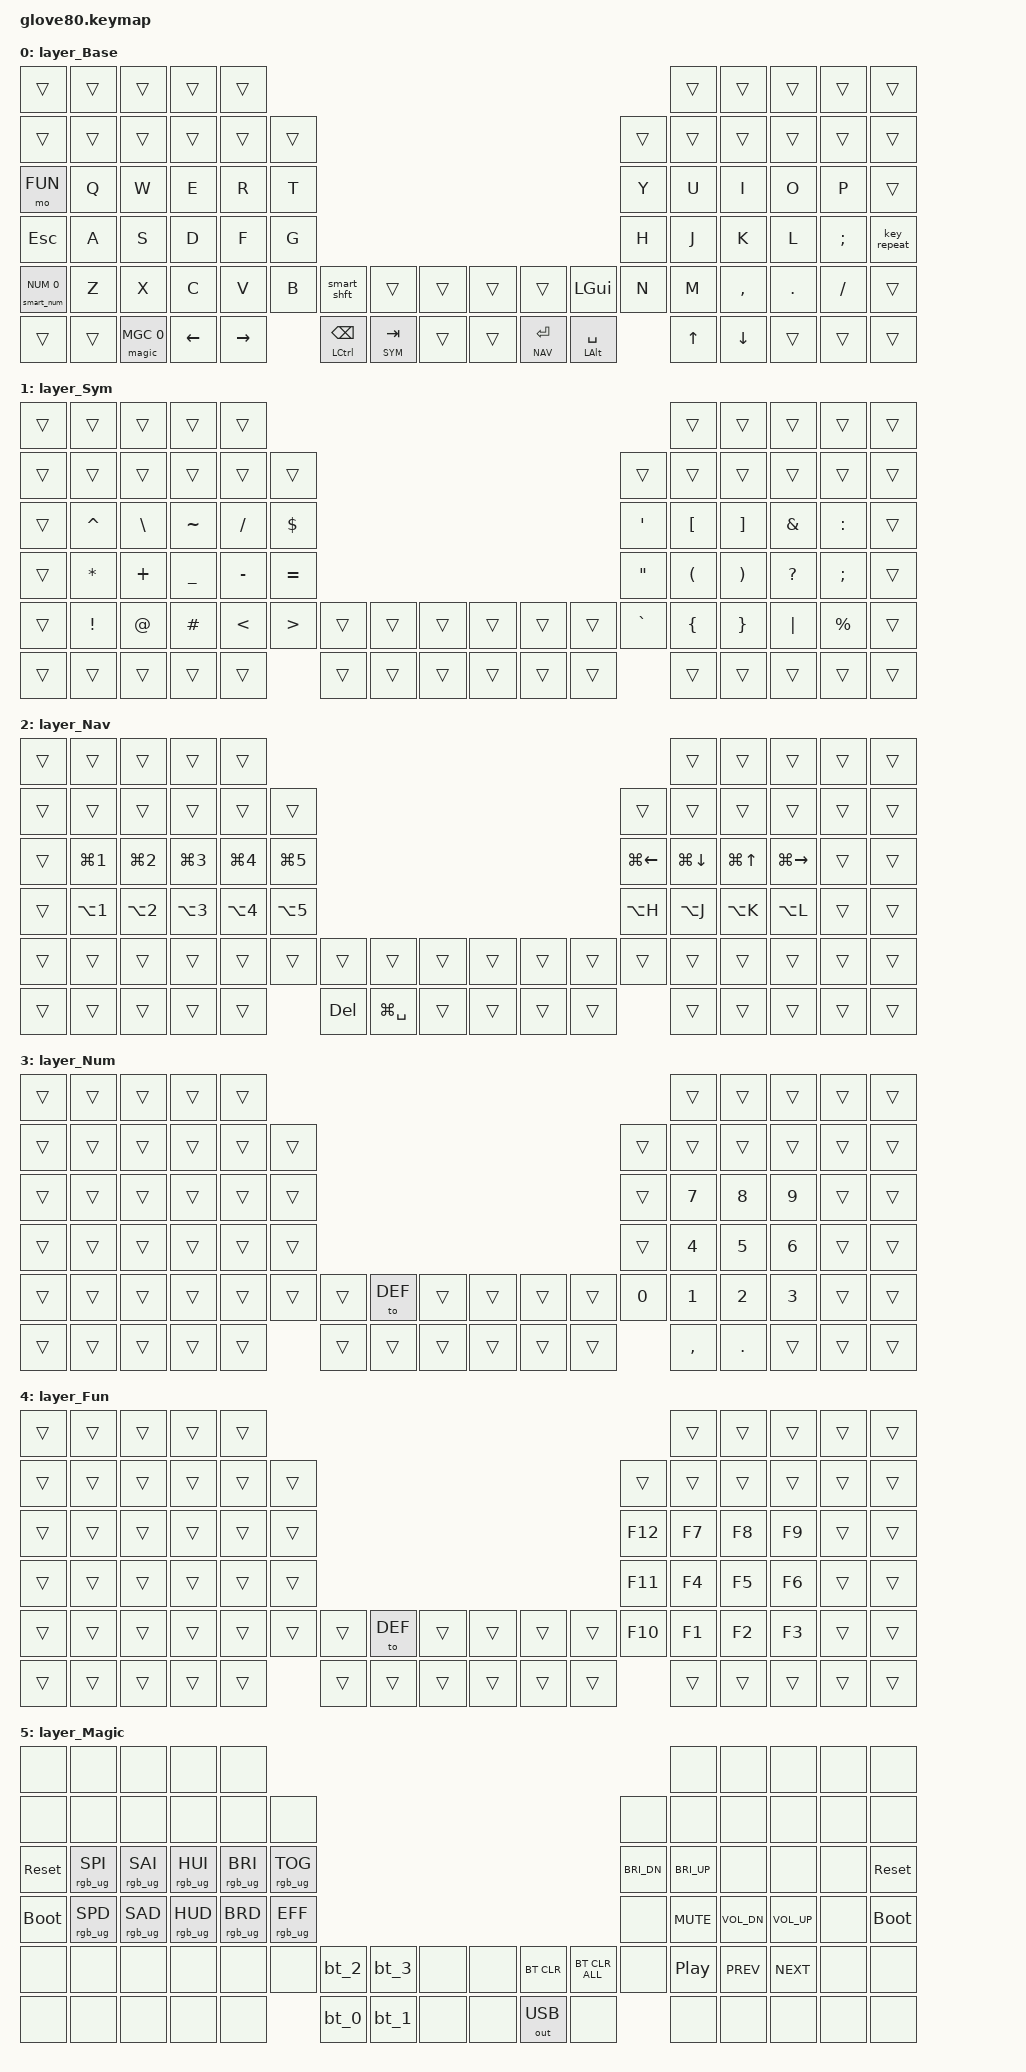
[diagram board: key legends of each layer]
#include <behaviors.dtsi>
#include <dt-bindings/zmk/outputs.h>
#include <dt-bindings/zmk/keys.h>
#include "glove80/bt.dtsi"
#include "glove80/magic.dtsi"
#include "zmk-helpers/helper.h"
#include "zmk-helpers/key-labels/glove80.h"
#include <behaviors/num_word.dtsi>  // from zmk-auto-layer module

#define DEF 0
#define SYM 1
#define NAV 2
#define NUM 3
#define FUN 4
#define MGC 5
#define _MAGIC &magic MGC 0

#define QUICK_TAP_MS 175

&sk {  // sticky-key config
    release-after-ms = <900>;  // release after 0.6s
    quick-release;             // no double capitalization when rolling keys
};

&sl {  // sticky-layer config
    ignore-modifiers;          // allow chording sticky mods & layers
};

&lt {  // layer-tap config
    flavor = "balanced";
    tapping-term-ms = <200>;
    quick-tap-ms = <QUICK_TAP_MS>;
};

&mt { // mod-tap config
    tapping-term-ms = <200>;
    flavor = "tap-preferred";
};

// tap: num-word | double-tap: sticky num-layer | hold: num-layer
#define _SMART_NUM &smart_num NUM 0
ZMK_HOLD_TAP(smart_num,
    flavor = "balanced";
    tapping-term-ms = <200>;
    quick-tap-ms = <QUICK_TAP_MS>;
    bindings = <&mo>, <&num_dance>;
)
ZMK_TAP_DANCE(num_dance,
    tapping-term-ms = <200>;
    bindings = <&num_word NUM>, <&sl NUM>;  // reverse this for sticky-num on single tap
)
&num_word {  // num-word, from zmk-auto-layer module
    continue-list = <BSPC DEL DOT COMMA PLUS MINUS STAR FSLH EQUAL>;
};
   
// tap: sticky-shift | shift + tap/ double-tap: caps-word | hold: shift
ZMK_MOD_MORPH(smart_shft,
    bindings = <&sk LSHFT>, <&caps_word>;
    mods = <(MOD_LSFT)>;
)

// Original top rows
// &kp F1 &kp F2 &kp F3 &kp F4 &kp F5 &kp F6 &kp F7 &kp F8 &kp F9 &kp F10
// &kp N1 &kp N2 &kp N3 &kp N4 &kp N5 &kp N6 &kp N7 &kp N8 &kp N9 &kp N10
// Original left-most row
// &kp EQUAL
// &kp TAB  
// &kp ESC  
// &kp GRAVE
// _MAGIC
// Original right-most row
// &kp MINUS
// &kp BSLH 
// &kp SQT  
// &kp PG_UP
// &kp PG_DN
/ {
    keymap {
        compatible = "zmk,keymap";

        layer_Base {
            bindings =  <
//    ┌────────────┬─────┬────────┬──────┬──────┐                                                                              ┌─────┬──────┬─────┬─────┬──────┐
//    │            │     │        │      │      │                                                                              │     │      │     │     │      │
//    ├────────────┼─────┼────────┼──────┼──────┼─────┐                                                                  ┌─────┼─────┼──────┼─────┼─────┼──────┤
//    │            │     │        │      │      │     │                                                                  │     │     │      │     │     │      │
//    ├────────────┼─────┼────────┼──────┼──────┼─────┤                                                                  ├─────┼─────┼──────┼─────┼─────┼──────┤
//    │   mo FUN   │  Q  │   W    │  E   │  R   │  T  │                                                                  │  Y  │  U  │  I   │  O  │  P  │      │
//    ├────────────┼─────┼────────┼──────┼──────┼─────┤                                                                  ├─────┼─────┼──────┼─────┼─────┼──────┤
//    │    esc     │  A  │   S    │  D   │  F   │  G  │                                                                  │  H  │  J  │  K   │  L  │  ;  │ keyr │
//    ├────────────┼─────┼────────┼──────┼──────┼─────┼──────────────┬────────────┬─────┬─────┬────────────┬─────────────┼─────┼─────┼──────┼─────┼─────┼──────┤
//    │ _SMART_NUM │  Z  │   X    │  C   │  V   │  B  │ &smart_shft  │            │     │     │            │    lgui     │  N  │  M  │  ,   │  .  │  /  │      │
//    ├────────────┼─────┼────────┼──────┼──────┼─────┼──────────────┼────────────┼─────┼─────┼────────────┼─────────────┼─────┼─────┼──────┼─────┼─────┼──────┤
//    │            │     │ _MAGIC │ left │ rght │     │ mt lctl bspc │ lt SYM tab │     │     │ lt NAV ent │ mt lalt spc │     │ up  │ down │     │     │      │
//    └────────────┴─────┴────────┴──────┴──────┘     └──────────────┴────────────┴─────┴─────┴────────────┴─────────────┘     └─────┴──────┴─────┴─────┴──────┘
  &trans       &trans   &trans   &trans     &trans                                                                                                        &trans   &trans      &trans    &trans     &trans     
  &trans       &trans   &trans   &trans     &trans      &trans                                                                                   &trans   &trans   &trans      &trans    &trans     &trans     
  &mo FUN      &kp Q    &kp W    &kp E      &kp R       &kp T                                                                                    &kp Y    &kp U    &kp I       &kp O     &kp P      &trans     
  &kp ESC      &kp A    &kp S    &kp D      &kp F       &kp G                                                                                    &kp H    &kp J    &kp K       &kp L     &kp SEMI   &key_repeat
  _SMART_NUM   &kp Z    &kp X    &kp C      &kp V       &kp B    &smart_shft      &trans        &trans   &trans   &trans        &kp LGUI         &kp N    &kp M    &kp COMMA   &kp DOT   &kp FSLH   &trans     
  &trans       &trans   _MAGIC   &kp LEFT   &kp RIGHT            &mt LCTRL BSPC   &lt SYM TAB   &trans   &trans   &lt NAV RET   &mt LALT SPACE            &kp UP   &kp DOWN    &trans    &trans     &trans     
            >;
        };

        layer_Sym {
            bindings = <
//    ┌─────┬─────┬─────┬─────┬─────┐                                               ┌─────┬─────┬─────┬─────┬─────┐
//    │     │     │     │     │     │                                               │     │     │     │     │     │
//    ├─────┼─────┼─────┼─────┼─────┼─────┐                                   ┌─────┼─────┼─────┼─────┼─────┼─────┤
//    │     │     │     │     │     │     │                                   │     │     │     │     │     │     │
//    ├─────┼─────┼─────┼─────┼─────┼─────┤                                   ├─────┼─────┼─────┼─────┼─────┼─────┤
//    │     │  ^  │  \  │  ~  │  /  │  $  │                                   │  '  │  [  │  ]  │  &  │  :  │     │
//    ├─────┼─────┼─────┼─────┼─────┼─────┤                                   ├─────┼─────┼─────┼─────┼─────┼─────┤
//    │     │  *  │  +  │  _  │  -  │  =  │                                   │  "  │  (  │  )  │  ?  │  ;  │     │
//    ├─────┼─────┼─────┼─────┼─────┼─────┼─────┬─────┬─────┬─────┬─────┬─────┼─────┼─────┼─────┼─────┼─────┼─────┤
//    │     │  !  │  @  │  #  │  <  │  >  │     │     │     │     │     │     │  `  │  {  │  }  │  |  │  %  │     │
//    ├─────┼─────┼─────┼─────┼─────┼─────┼─────┼─────┼─────┼─────┼─────┼─────┼─────┼─────┼─────┼─────┼─────┼─────┤
//    │     │     │     │     │     │     │     │     │     │     │     │     │     │     │     │     │     │     │
//    └─────┴─────┴─────┴─────┴─────┘     └─────┴─────┴─────┴─────┴─────┴─────┘     └─────┴─────┴─────┴─────┴─────┘
  &trans   &trans      &trans     &trans      &trans                                                                                    &trans     &trans     &trans      &trans      &trans
  &trans   &trans      &trans     &trans      &trans      &trans                                                            &trans      &trans     &trans     &trans      &trans      &trans
  &trans   &kp CARET   &kp BSLH   &kp TILDE   &kp FSLH    &kp DLLR                                                          &kp SQT     &kp LBKT   &kp RBKT   &kp AMPS    &kp COLON   &trans
  &trans   &kp STAR    &kp PLUS   &kp UNDER   &kp MINUS   &kp EQUAL                                                         &kp DQT     &kp LPAR   &kp RPAR   &kp QMARK   &kp SEMI    &trans
  &trans   &kp EXCL    &kp AT     &kp HASH    &kp LT      &kp GT      &trans   &trans   &trans   &trans   &trans   &trans   &kp GRAVE   &kp LBRC   &kp RBRC   &kp PIPE    &kp PRCNT   &trans
  &trans   &trans      &trans     &trans      &trans                  &trans   &trans   &trans   &trans   &trans   &trans               &trans     &trans     &trans      &trans      &trans
            >;
        };

        layer_Nav {
            bindings = <
//    ┌─────┬─────────┬─────────┬─────────┬─────────┐                                                                ┌────────────┬──────────┬────────────┬─────┬─────┐
//    │     │         │         │         │         │                                                                │            │          │            │     │     │
//    ├─────┼─────────┼─────────┼─────────┼─────────┼─────────┐                                         ┌────────────┼────────────┼──────────┼────────────┼─────┼─────┤
//    │     │         │         │         │         │         │                                         │            │            │          │            │     │     │
//    ├─────┼─────────┼─────────┼─────────┼─────────┼─────────┤                                         ├────────────┼────────────┼──────────┼────────────┼─────┼─────┤
//    │     │ lgui(1) │ lgui(2) │ lgui(3) │ lgui(4) │ lgui(5) │                                         │ lgui(left) │ lgui(down) │ lgui(up) │ lgui(rght) │     │     │
//    ├─────┼─────────┼─────────┼─────────┼─────────┼─────────┤                                         ├────────────┼────────────┼──────────┼────────────┼─────┼─────┤
//    │     │ lalt(1) │ lalt(2) │ lalt(3) │ lalt(4) │ lalt(5) │                                         │  lalt(H)   │  lalt(J)   │ lalt(K)  │  lalt(L)   │     │     │
//    ├─────┼─────────┼─────────┼─────────┼─────────┼─────────┼─────┬───────────┬─────┬─────┬─────┬─────┼────────────┼────────────┼──────────┼────────────┼─────┼─────┤
//    │     │         │         │         │         │         │     │           │     │     │     │     │            │            │          │            │     │     │
//    ├─────┼─────────┼─────────┼─────────┼─────────┼─────────┼─────┼───────────┼─────┼─────┼─────┼─────┼────────────┼────────────┼──────────┼────────────┼─────┼─────┤
//    │     │         │         │         │         │         │ del │ lgui(spc) │     │     │     │     │            │            │          │            │     │     │
//    └─────┴─────────┴─────────┴─────────┴─────────┘         └─────┴───────────┴─────┴─────┴─────┴─────┘            └────────────┴──────────┴────────────┴─────┴─────┘
  &trans   &trans       &trans       &trans       &trans                                                                                                 &trans         &trans       &trans          &trans   &trans
  &trans   &trans       &trans       &trans       &trans       &trans                                                                     &trans         &trans         &trans       &trans          &trans   &trans
  &trans   &kp LG(N1)   &kp LG(N2)   &kp LG(N3)   &kp LG(N4)   &kp LG(N5)                                                                 &kp LG(LEFT)   &kp LG(DOWN)   &kp LG(UP)   &kp LG(RIGHT)   &trans   &trans
  &trans   &kp LA(N1)   &kp LA(N2)   &kp LA(N3)   &kp LA(N4)   &kp LA(N5)                                                                 &kp LA(H)      &kp LA(J)      &kp LA(K)    &kp LA(L)       &trans   &trans
  &trans   &trans       &trans       &trans       &trans       &trans       &trans    &trans          &trans   &trans   &trans   &trans   &trans         &trans         &trans       &trans          &trans   &trans
  &trans   &trans       &trans       &trans       &trans                    &kp DEL   &kp LG(SPACE)   &trans   &trans   &trans   &trans                  &trans         &trans       &trans          &trans   &trans
            >;
        };

        layer_Num{
            bindings = <
//    ┌─────┬─────┬─────┬─────┬─────┐                                                  ┌─────┬─────┬─────┬─────┬─────┐
//    │     │     │     │     │     │                                                  │     │     │     │     │     │
//    ├─────┼─────┼─────┼─────┼─────┼─────┐                                      ┌─────┼─────┼─────┼─────┼─────┼─────┤
//    │     │     │     │     │     │     │                                      │     │     │     │     │     │     │
//    ├─────┼─────┼─────┼─────┼─────┼─────┤                                      ├─────┼─────┼─────┼─────┼─────┼─────┤
//    │     │     │     │     │     │     │                                      │     │  7  │  8  │  9  │     │     │
//    ├─────┼─────┼─────┼─────┼─────┼─────┤                                      ├─────┼─────┼─────┼─────┼─────┼─────┤
//    │     │     │     │     │     │     │                                      │     │  4  │  5  │  6  │     │     │
//    ├─────┼─────┼─────┼─────┼─────┼─────┼─────┬────────┬─────┬─────┬─────┬─────┼─────┼─────┼─────┼─────┼─────┼─────┤
//    │     │     │     │     │     │     │     │ to DEF │     │     │     │     │  0  │  1  │  2  │  3  │     │     │
//    ├─────┼─────┼─────┼─────┼─────┼─────┼─────┼────────┼─────┼─────┼─────┼─────┼─────┼─────┼─────┼─────┼─────┼─────┤
//    │     │     │     │     │     │     │     │        │     │     │     │     │     │  ,  │  .  │     │     │     │
//    └─────┴─────┴─────┴─────┴─────┘     └─────┴────────┴─────┴─────┴─────┴─────┘     └─────┴─────┴─────┴─────┴─────┘
  &trans   &trans   &trans   &trans   &trans                                                                            &trans      &trans    &trans   &trans   &trans
  &trans   &trans   &trans   &trans   &trans   &trans                                                          &trans   &trans      &trans    &trans   &trans   &trans
  &trans   &trans   &trans   &trans   &trans   &trans                                                          &trans   &kp N7      &kp N8    &kp N9   &trans   &trans
  &trans   &trans   &trans   &trans   &trans   &trans                                                          &trans   &kp N4      &kp N5    &kp N6   &trans   &trans
  &trans   &trans   &trans   &trans   &trans   &trans   &trans   &to DEF   &trans   &trans   &trans   &trans   &kp N0   &kp N1      &kp N2    &kp N3   &trans   &trans
  &trans   &trans   &trans   &trans   &trans            &trans   &trans    &trans   &trans   &trans   &trans            &kp COMMA   &kp DOT   &trans   &trans   &trans
            >;
        };

      layer_Fun{
            bindings = <
//    ┌─────┬─────┬─────┬─────┬─────┐                                                  ┌─────┬─────┬─────┬─────┬─────┐
//    │     │     │     │     │     │                                                  │     │     │     │     │     │
//    ├─────┼─────┼─────┼─────┼─────┼─────┐                                      ┌─────┼─────┼─────┼─────┼─────┼─────┤
//    │     │     │     │     │     │     │                                      │     │     │     │     │     │     │
//    ├─────┼─────┼─────┼─────┼─────┼─────┤                                      ├─────┼─────┼─────┼─────┼─────┼─────┤
//    │     │     │     │     │     │     │                                      │ f12 │ f7  │ f8  │ f9  │     │     │
//    ├─────┼─────┼─────┼─────┼─────┼─────┤                                      ├─────┼─────┼─────┼─────┼─────┼─────┤
//    │     │     │     │     │     │     │                                      │ f11 │ f4  │ f5  │ f6  │     │     │
//    ├─────┼─────┼─────┼─────┼─────┼─────┼─────┬────────┬─────┬─────┬─────┬─────┼─────┼─────┼─────┼─────┼─────┼─────┤
//    │     │     │     │     │     │     │     │ to DEF │     │     │     │     │ f10 │ f1  │ f2  │ f3  │     │     │
//    ├─────┼─────┼─────┼─────┼─────┼─────┼─────┼────────┼─────┼─────┼─────┼─────┼─────┼─────┼─────┼─────┼─────┼─────┤
//    │     │     │     │     │     │     │     │        │     │     │     │     │     │     │     │     │     │     │
//    └─────┴─────┴─────┴─────┴─────┘     └─────┴────────┴─────┴─────┴─────┴─────┘     └─────┴─────┴─────┴─────┴─────┘
  &trans   &trans   &trans   &trans   &trans                                                                             &trans   &trans   &trans   &trans   &trans
  &trans   &trans   &trans   &trans   &trans   &trans                                                          &trans    &trans   &trans   &trans   &trans   &trans
  &trans   &trans   &trans   &trans   &trans   &trans                                                          &kp F12   &kp F7   &kp F8   &kp F9   &trans   &trans
  &trans   &trans   &trans   &trans   &trans   &trans                                                          &kp F11   &kp F4   &kp F5   &kp F6   &trans   &trans
  &trans   &trans   &trans   &trans   &trans   &trans   &trans   &to DEF   &trans   &trans   &trans   &trans   &kp F10   &kp F1   &kp F2   &kp F3   &trans   &trans
  &trans   &trans   &trans   &trans   &trans            &trans   &trans    &trans   &trans   &trans   &trans             &trans   &trans   &trans   &trans   &trans
            >;
        };

        layer_Magic {
            bindings = <
//    ┌────────────┬─────────┬─────────┬─────────┬─────────┐                                                                    ┌──────┬──────┬──────┬─────┬────────────┐
//    │            │         │         │         │         │                                                                    │      │      │      │     │            │
//    ├────────────┼─────────┼─────────┼─────────┼─────────┼─────────┐                                                   ┌──────┼──────┼──────┼──────┼─────┼────────────┤
//    │            │         │         │         │         │         │                                                   │      │      │      │      │     │            │
//    ├────────────┼─────────┼─────────┼─────────┼─────────┼─────────┤                                                   ├──────┼──────┼──────┼──────┼─────┼────────────┤
//    │ &sys_reset │ ug_ sp+ │ ug_ sa+ │ ug_ hu+ │ ug_ br+ │ ug_ tog │                                                   │ bri- │ bri+ │      │      │     │ &sys_reset │
//    ├────────────┼─────────┼─────────┼─────────┼─────────┼─────────┤                                                   ├──────┼──────┼──────┼──────┼─────┼────────────┤
//    │    boot    │ ug_ sp- │ ug_ sa- │ ug_ hu- │ ug_ br- │ ug_ eff │                                                   │      │ mute │ vold │ volu │     │    boot    │
//    ├────────────┼─────────┼─────────┼─────────┼─────────┼─────────┼───────┬───────┬─────┬─────┬──────────┬────────────┼──────┼──────┼──────┼──────┼─────┼────────────┤
//    │            │         │         │         │         │         │ &bt_2 │ &bt_3 │     │     │  bt_clr  │ bt_clr_ALL │      │ play │ prev │ next │     │            │
//    ├────────────┼─────────┼─────────┼─────────┼─────────┼─────────┼───────┼───────┼─────┼─────┼──────────┼────────────┼──────┼──────┼──────┼──────┼─────┼────────────┤
//    │            │         │         │         │         │         │ &bt_0 │ &bt_1 │     │     │ out_ usb │            │      │      │      │      │     │            │
//    └────────────┴─────────┴─────────┴─────────┴─────────┘         └───────┴───────┴─────┴─────┴──────────┴────────────┘      └──────┴──────┴──────┴─────┴────────────┘
  &none         &none             &none             &none             &none                                                                                                              &none          &none          &none          &none   &none      
  &none         &none             &none             &none             &none             &none                                                                             &none          &none          &none          &none          &none   &none      
  &sys_reset    &rgb_ug RGB_SPI   &rgb_ug RGB_SAI   &rgb_ug RGB_HUI   &rgb_ug RGB_BRI   &rgb_ug RGB_TOG                                                                   &kp C_BRI_DN   &kp C_BRI_UP   &none          &none          &none   &sys_reset 
  &bootloader   &rgb_ug RGB_SPD   &rgb_ug RGB_SAD   &rgb_ug RGB_HUD   &rgb_ug RGB_BRD   &rgb_ug RGB_EFF                                                                   &none          &kp C_MUTE     &kp C_VOL_DN   &kp C_VOL_UP   &none   &bootloader
  &none         &none             &none             &none             &none             &none             &bt_2   &bt_3   &none   &none   &bt BT_CLR     &bt BT_CLR_ALL   &none          &kp C_PP       &kp C_PREV     &kp C_NEXT     &none   &none      
  &none         &none             &none             &none             &none                               &bt_0   &bt_1   &none   &none   &out OUT_USB   &none                           &none          &none          &none          &none   &none      
            >;
        };

    };
};
